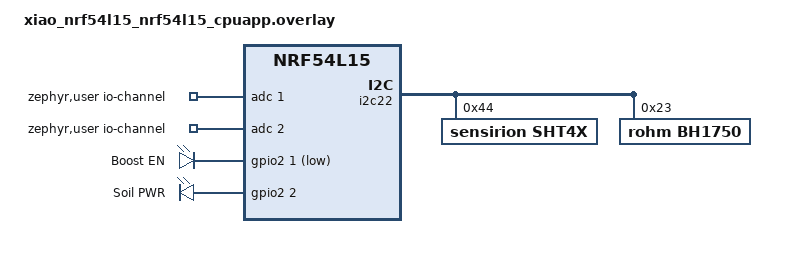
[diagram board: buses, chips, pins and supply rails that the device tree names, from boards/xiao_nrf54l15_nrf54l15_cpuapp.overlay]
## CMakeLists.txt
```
# SPDX-License-Identifier: Apache-2.0

cmake_minimum_required(VERSION 3.20.0)
find_package(Zephyr REQUIRED HINTS $ENV{ZEPHYR_BASE})
project(myco)

target_sources(app PRIVATE src/main.c src/selftest.c)
```

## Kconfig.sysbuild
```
source "share/sysbuild/Kconfig"

config NRF_DEFAULT_IPC_RADIO
	default y

config NETCORE_IPC_RADIO_IEEE802154
	default y
```

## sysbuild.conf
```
# Partition manager désactivé — layout statique via nrf54l15_cpuapp_partitions.dtsi
# (fourni par l'add-on ncs-zigbee), comme dans samples/template.
SB_CONFIG_PARTITION_MANAGER=n
```

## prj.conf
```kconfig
# Logging
CONFIG_LOG=y
CONFIG_LOG_DEFAULT_LEVEL=3

# RTT (logs + shell — pas d'UART câblé sur le fixture de test)
CONFIG_USE_SEGGER_RTT=y
CONFIG_LOG_BACKEND_RTT=y
CONFIG_LOG_BACKEND_RTT_MODE_BLOCK=y
CONFIG_LOG_BACKEND_UART=n
CONFIG_RTT_CONSOLE=y

CONFIG_SHELL=y
CONFIG_SHELL_BACKEND_RTT=y
# Logs et shell ne peuvent pas partager le même canal RTT (BUILD_ASSERT dans
# shell_rtt.c) — logs restent sur le canal 0 par défaut, shell sur le 1.
CONFIG_SHELL_BACKEND_RTT_BUFFER=1

# GPIO — seul périphérique dont ce firmware a besoin
CONFIG_GPIO=y

# NFC : P1.02/P1.03 (module pads 15/16, J1 pins 10/11) sont en mode antenne
# NFC par défaut au reset (datasheet nRF54L15 §8.8.1 — registre PADCONFIG).
# Pas de Kconfig/devicetree pour ça sur cette version de NCS (v3.2.4,
# vérifié : CONFIG_NFCT_PINS_AS_GPIOS et un noeud UICR/nfct n'existent pas
# pour nRF54L ici) — désactivé à la place par un appel HAL direct
# (nrf_nfct_pad_config_enable_set) dans selftest.c au boot.
```

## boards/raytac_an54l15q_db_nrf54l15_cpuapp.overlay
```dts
/*
 * NRF54L_breakout — firmware d'auto-test des GPIO exposés (fixture pull-down).
 *
 * Cible officielle la plus proche du module nu (module partagé, pas la carte
 * eval Raytac elle-même) — voir NRF54L_breakout/test-fixture/TEST-FLOW.md
 * pour le protocole complet et NRF54L_breakout/PIN_MAPPING.md pour la table
 * pin module ↔ pin breakout.
 *
 * Pas de capteurs/BLE ici : ce firmware ne fait que balayer les 29 GPIO
 * exposés sur J1/J4 via le shell RTT (commande `selftest`).
 */

/* ── spi00 : flash externe de l'eval board Raytac, absente sur notre
 * breakout — désactivé, comme sur la branche breakout-test. ────────────── */
&spi00 {
	status = "disabled";
};

/* ── uart20 : console/shell par défaut de cette cible. Son pinctrl réclame
 * TX=P1.04, RTS=P1.06, RX=P1.05, CTS=P1.07 — 4 des 29 pins qu'on balaie
 * (J1 pins 12/14/13/15, réseau A). Désactivé pour libérer ces 4 pins en
 * pur GPIO ; logs et shell passent par RTT de toute façon (pas d'UART câblé
 * sur le fixture). Même cause/fix que sur la branche breakout-test. ─────── */
&uart20 {
	status = "disabled";
};
```

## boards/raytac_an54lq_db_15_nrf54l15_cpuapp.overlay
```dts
#include <zephyr/dt-bindings/gpio/nordic-nrf-gpio.h>
#include <nrf54l15_cpuapp_partitions.dtsi>

/*
 * Myco Mini – NRF54L_breakout (Raytac AN54LQ-15 module) DeviceTree overlay
 * Variante Zigbee R23 (add-on ncs-zigbee, NCS v3.4.0) — même hardware/pins
 * que la branche BLE (feature/an54lq15-breakout-test), radio 802.15.4 au
 * lieu de BLE.
 *
 * NB board target renommé entre NCS v3.2.4 et v3.4.0 :
 * raytac_an54l15q_db -> raytac_an54lq_db_15 (aligné sur le vrai nom du
 * module AN54LQ-15). Même module, mêmes pins, même conflit uart20 (cf plus
 * bas) — vérifié dans les fichiers de board de ce nouveau workspace.
 *
 * Pinout (breakout header en parens) :
 *   I2C SDA  : P1.10 (J1 pin 3)   — SHT40 + BH1750
 *   I2C SCL  : P1.11 (J1 pin 4)   — SHT40 + BH1750
 *   ADC soil : P1.07 / AIN3 (J1 pin 15) — capteur sol capacitif (AOUT)
 *   ADC batt : P1.06 / AIN2 (J1 pin 14) — tension batterie CR2032
 *   GPIO PWR : P1.04 (J1 pin 12) — alimentation capteur sol
 *
 * Pas de RF switch (antenne céramique intégrée), pas de MOSFET boost_en,
 * pas de LED — même choix que la branche BLE, voir son overlay pour le
 * détail des raisons.
 */

/* ── spi00 : flash externe absente sur notre breakout — désactivé.
 * Le noeud enfant mx25r64 doit être désactivé explicitement en plus du bus :
 * son status="okay" hérité du board dtsi survit à la désactivation du bus
 * parent, et le driver spi_nor.c essaie quand même de l'instancier dès que
 * CONFIG_SPI_NOR est actif (tiré par Zigbee/partition manager statique). ── */
&spi00 {
	status = "disabled";
};

&mx25r64 {
	status = "disabled";
};

/* ── uart20 : même conflit que sur NCS v3.2.4 — pinctrl réclame TX=P1.04,
 * RTS=P1.06, RX=P1.05, CTS=P1.07 (bias-pull-up), soit nos pins soil_pwr/
 * ADC sol/ADC batt. Désactivé, logs via RTT. ───────────────────────────── */
&uart20 {
	status = "disabled";
};

/* ── Zigbee : timer dédié requis par l'add-on, chosen node + activation. ── */
/ {
	chosen {
		ncs,zigbee-timer = &timer20;
	};
};

&timer20 {
	status = "okay";
};

/* Restaure toute la RRAM/SRAM app-core — par défaut une partie est réservée
 * pour FLPR ; le template Zigbee R23 fait cette même restauration. */
&cpuapp_rram {
	reg = <0x0 DT_SIZE_K(1524)>;
};

&cpuapp_sram {
	reg = <0x20000000 DT_SIZE_K(256)>;
	ranges = <0x0 0x20000000 0x40000>;
};

/* ── Pinctrl I2C : pas de pinctrl i2c22 par défaut sur cette cible ───────── */
&pinctrl {
	i2c22_default: i2c22_default {
		group1 {
			psels = <NRF_PSEL(TWIM_SDA, 1, 10)>,
				<NRF_PSEL(TWIM_SCL, 1, 11)>;
		};
	};

	i2c22_sleep: i2c22_sleep {
		group1 {
			psels = <NRF_PSEL(TWIM_SDA, 1, 10)>,
				<NRF_PSEL(TWIM_SCL, 1, 11)>;
			low-power-enable;
		};
	};
};

/* ── I2C capteurs ─────────────────────────────────────────────── */
&i2c22 {
	status = "okay";
	pinctrl-0 = <&i2c22_default>;
	pinctrl-1 = <&i2c22_sleep>;
	pinctrl-names = "default", "sleep";
	clock-frequency = <400000>;

	sht4x: sht4x@44 {
		compatible = "sensirion,sht4x";
		reg = <0x44>;
		repeatability = <2>;
	};

	bh1750: bh1750@23 {
		compatible = "rohm,bh1750";
		reg = <0x23>;
	};
};

/* ── ADC ──────────────────────────────────────────────────────── */
&adc {
	#address-cells = <1>;
	#size-cells = <0>;

	channel@1 {
		reg = <1>;
		zephyr,gain = "ADC_GAIN_1_4";
		zephyr,reference = "ADC_REF_INTERNAL";  /* 0.9V reel -> FSR 3.6V */
		zephyr,acquisition-time = <ADC_ACQ_TIME_DEFAULT>;
		zephyr,input-positive = <NRF_SAADC_AIN3>;  /* P1.07 (J1 pin 15) sol */
		zephyr,resolution = <12>;
		zephyr,oversampling = <8>;
	};

	channel@2 {
		reg = <2>;
		zephyr,gain = "ADC_GAIN_1_4";
		zephyr,reference = "ADC_REF_INTERNAL";
		zephyr,acquisition-time = <ADC_ACQ_TIME_DEFAULT>;
		zephyr,input-positive = <NRF_SAADC_AIN2>;  /* P1.06 batterie */
		zephyr,resolution = <12>;
		zephyr,oversampling = <8>;
	};
};

/ {
	zephyr,user {
		io-channels = <&adc 1>, <&adc 2>;
	};
};

/* ── GPIO ─────────────────────────────────────────────────────── */
/ {
	myco_gpios {
		compatible = "gpio-leds";

		soil_pwr: soil_pwr {
			gpios = <&gpio1 4 (GPIO_ACTIVE_HIGH | NRF_GPIO_DRIVE_H0H1)>; /* P1.04 */
			label = "Soil PWR";
		};
	};

	aliases {
		soil-pwr  = &soil_pwr;
	};
};
```

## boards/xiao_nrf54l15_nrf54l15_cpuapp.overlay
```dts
/*
 * Myco Mini – XIAO nRF54L15 DeviceTree overlay
 *
 * Pinout:
 *   I2C SDA  : P1.10 (D4)   — SHT40 + BH1750
 *   I2C SCL  : P1.11 (D5)   — SHT40 + BH1750
 *   ADC soil : P1.05 (D1/AIN1) — capteur sol capacitif
 *   ADC batt : P1.06 (D2/AIN2) — tension batterie CR2032
 *   GPIO EN  : P2.01 (D8)   — MOSFET boost converter (active-low)
 *   GPIO PWR : P2.02 (D10)  — alimentation capteur sol
 *   LED      : P2.00         — LED utilisateur unique
 *   RF switch: P2.03/P2.05  — rfsw_pwr/rfsw_ctl (antenne céramique)
 */

/* ── RF switch : active l'antenne céramique au boot ──────────── */
&rfsw_pwr {
	regulator-boot-on;
};

&rfsw_ctl {
	regulator-boot-on;
};

/* ── I2C capteurs ─────────────────────────────────────────────── */
&i2c22 {
	status = "okay";

	sht4x: sht4x@44 {
		compatible = "sensirion,sht4x";
		reg = <0x44>;
		repeatability = <2>;  /* 0=low(1.7ms), 1=med(4.5ms), 2=high(8.2ms) */
	};

	bh1750: bh1750@23 {
		compatible = "rohm,bh1750";
		reg = <0x23>;
	};
};

/* ── ADC ──────────────────────────────────────────────────────── */
/ {
	zephyr,user {
		io-channels = <&adc 1>, <&adc 2>;  /* ch1=AIN1/D1 sol, ch2=AIN2/D2 batt */
	};
};

/* ── GPIO ─────────────────────────────────────────────────────── */
/ {
	myco_gpios {
		compatible = "gpio-leds";

		boost_en: boost_en {
			gpios = <&gpio2 1 GPIO_ACTIVE_LOW>;  /* D8 = P2.01 */
			label = "Boost EN";
		};

		soil_pwr: soil_pwr {
			gpios = <&gpio2 2 GPIO_ACTIVE_HIGH>; /* D10 = P2.02 */
			label = "Soil PWR";
		};
	};

	aliases {
		boost-en  = &boost_en;
		soil-pwr  = &soil_pwr;
		user-led  = &led0;           /* P2.00 — LED unique */
	};
};
```

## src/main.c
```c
/*
 * NRF54L_breakout — firmware d'auto-test des GPIO exposés.
 *
 * Pas de capteurs/BLE : lance une passe au boot puis attend les commandes
 * du shell RTT (`selftest` pour relancer). Voir
 * NRF54L_breakout/test-fixture/TEST-FLOW.md pour le protocole complet et
 * le câblage du fixture.
 */

#include <zephyr/kernel.h>
#include <zephyr/logging/log.h>

#include "selftest.h"

LOG_MODULE_REGISTER(myco_selftest, LOG_LEVEL_INF);

int main(void)
{
	LOG_INF("Myco pin-selftest booting on nRF54L15...");
	LOG_INF("Shell RTT pret — tape 'selftest' pour relancer le balayage.");

	k_msleep(200); /* laisse le fixture (RC 1kOhm) se stabiliser au boot */
	selftest_run();

	return 0;
}
```

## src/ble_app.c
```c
#include "ble_app.h"

#include <zephyr/kernel.h>
#include <zephyr/logging/log.h>
#include <zephyr/drivers/sensor.h>
#include <zephyr/drivers/adc.h>
#include <zephyr/bluetooth/bluetooth.h>
#include <zephyr/bluetooth/hci.h>

#include "device_config.h"

LOG_MODULE_REGISTER(myco_ble, LOG_LEVEL_INF);

/* ── Périphériques (soil_pwr/adc_channel_setup deja faits par main()) ──── */
static const struct device *sht4x  = DEVICE_DT_GET(DT_NODELABEL(sht4x));
static const struct device *bh1750 = DEVICE_DT_GET(DT_NODELABEL(bh1750));

static const struct adc_dt_spec adc_soil =
	ADC_DT_SPEC_GET_BY_IDX(DT_PATH(zephyr_user), 0);
static const struct adc_dt_spec adc_batt =
	ADC_DT_SPEC_GET_BY_IDX(DT_PATH(zephyr_user), 1);

/* ── BTHome v2 ──────────────────────────────────────────────── */
/* Service data : UUID(2) + device_info(1) + objects = 17 bytes */
static uint8_t bthome_sd[17] = {
	0xD2, 0xFC,  /* UUID 0xFCD2 little endian */
	0x40,        /* v2, unencrypted, not trigger-based */
	0x01, 0x00,              /* Battery  uint8  % */
	0x02, 0x00, 0x00,        /* Temp     sint16 ×0.01 °C */
	0x03, 0x00, 0x00,        /* Humidity uint16 ×0.01 % */
	0x05, 0x00, 0x00, 0x00,  /* Lux      uint24 ×0.01 lx */
	0x2F, 0x00,              /* Moisture uint8  % */
};

static const uint8_t bthome_uuid[] = {0xD2, 0xFC};  /* 0xFCD2 LE */

static const struct bt_data ad[] = {
	BT_DATA_BYTES(BT_DATA_FLAGS, BT_LE_AD_GENERAL | BT_LE_AD_NO_BREDR),
	BT_DATA(BT_DATA_UUID16_ALL, bthome_uuid, sizeof(bthome_uuid)),
	BT_DATA(BT_DATA_SVC_DATA16, bthome_sd, sizeof(bthome_sd)),
};

static const struct bt_le_adv_param adv_param =
	BT_LE_ADV_PARAM_INIT(BT_LE_ADV_OPT_USE_IDENTITY |
			     BT_LE_ADV_OPT_CONN,
			     160, 160,
			     NULL);

static void bthome_update(uint8_t bat, float temp, float hum, float lux, uint8_t soil)
{
	int16_t  t  = (int16_t)(temp * 100.0f);
	uint16_t h  = (uint16_t)(hum  * 100.0f);
	uint32_t lx = (uint32_t)(lux  * 100.0f);

	bthome_sd[4]  = bat;
	bthome_sd[6]  = (t  >>  0) & 0xFF;
	bthome_sd[7]  = (t  >>  8) & 0xFF;
	bthome_sd[9]  = (h  >>  0) & 0xFF;
	bthome_sd[10] = (h  >>  8) & 0xFF;
	bthome_sd[12] = (lx >>  0) & 0xFF;
	bthome_sd[13] = (lx >>  8) & 0xFF;
	bthome_sd[14] = (lx >> 16) & 0xFF;
	bthome_sd[16] = soil;
}

/* ── ADC ────────────────────────────────────────────────────── */
static int read_adc_mv(const struct adc_dt_spec *spec)
{
	int16_t raw = 0;
	struct adc_sequence seq = {
		.buffer      = &raw,
		.buffer_size = sizeof(raw),
	};
	adc_sequence_init_dt(spec, &seq);
	adc_read_dt(spec, &seq);

	int32_t mv = raw;
	adc_raw_to_millivolts_dt(spec, &mv);
	return mv;
}

int ble_app_run(void)
{
	const struct device_config *cfg = device_config_get();

	int err = bt_enable(NULL);
	if (err) {
		LOG_ERR("bt_enable failed: %d", err);
		return -1;
	}

	/* Log adresse MAC */
	bt_addr_le_t addr;
	size_t count = 1;
	bt_id_get(&addr, &count);
	LOG_INF("BLE ready  MAC: %02X:%02X:%02X:%02X:%02X:%02X",
		addr.a.val[5], addr.a.val[4], addr.a.val[3],
		addr.a.val[2], addr.a.val[1], addr.a.val[0]);

	/* Démarrage advertising au boot */
	err = bt_le_adv_start(&adv_param, ad, ARRAY_SIZE(ad), NULL, 0);
	if (err) {
		LOG_ERR("bt_le_adv_start failed: %d", err);
		return -1;
	}

	struct sensor_value temp, hum, lux;

	while (1) {
		/* SHT40 */
		sensor_sample_fetch(sht4x);
		sensor_channel_get(sht4x, SENSOR_CHAN_AMBIENT_TEMP, &temp);
		sensor_channel_get(sht4x, SENSOR_CHAN_HUMIDITY, &hum);

		/* BH1750 */
		sensor_sample_fetch(bh1750);
		sensor_channel_get(bh1750, SENSOR_CHAN_LIGHT, &lux);

		/* Batterie */
		int batt_mv  = read_adc_mv(&adc_batt);
		int batt_pct = CLAMP((batt_mv - 2000) * 100 / (3000 - 2000), 0, 100);

		/* Sol : soil_pwr reste allumé en continu (voir commentaire dans main()) */
		int soil_mv = read_adc_mv(&adc_soil);
		int soil_12 = soil_mv * 4095 / 3600;
		int soil_pct = CLAMP((cfg->soil_dry - soil_12) * 100 / (cfg->soil_dry - cfg->soil_wet), 0, 100);

		float t_f   = temp.val1 + temp.val2 / 1000000.0f;
		float h_f   = hum.val1  + hum.val2  / 1000000.0f;
		float lux_f = lux.val1  + lux.val2  / 1000000.0f;

		LOG_INF("T: %.2f C  RH: %.2f %%  Lux: %.2f  Sol: %d%% (%dmV)  Bat: %dmV (%d%%)",
			(double)t_f, (double)h_f, (double)lux_f,
			soil_pct, soil_mv, batt_mv, batt_pct);

		/* BTHome : met à jour le payload en live (advertising continu) */
		bthome_update(batt_pct, t_f, h_f, lux_f, soil_pct);
		err = bt_le_adv_update_data(ad, ARRAY_SIZE(ad), NULL, 0);
		if (err && err != -EAGAIN) {
			LOG_ERR("bt_le_adv_update_data failed: %d", err);
		} else {
			LOG_DBG("BTHome advertised");
		}

		k_sleep(K_SECONDS(cfg->report_interval_s));
	}

	return 0;
}
```

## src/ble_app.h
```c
#ifndef BLE_APP_H
#define BLE_APP_H

/* Boucle BLE/BTHome v2 — capteurs deja initialises par main(), ne revient
 * jamais en usage normal (boucle infinie d'advertising). */
int ble_app_run(void);

#endif /* BLE_APP_H */
```

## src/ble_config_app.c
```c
/*
 * Mode config : service GATT custom pour une app compagnon (telephone).
 * Expose la calibration sol + l'intervalle de report en lecture-ecriture
 * dans un "brouillon" (staging_*), et un caractere "commit" qui valide,
 * persiste en NVS (device_config.c) et reboote dans le mode radio choisi
 * (protocol_mode.c). Rien n'est applique tant que "commit" n'est pas
 * ecrit — la connexion peut se couper sans effet, comme annuler.
 */

#include "ble_config_app.h"

#include <string.h>
#include <zephyr/bluetooth/att.h>
#include <zephyr/bluetooth/bluetooth.h>
#include <zephyr/bluetooth/conn.h>
#include <zephyr/bluetooth/gatt.h>
#include <zephyr/bluetooth/uuid.h>
#include <zephyr/kernel.h>
#include <zephyr/logging/log.h>
#include <zephyr/sys/reboot.h>

#include "device_config.h"
#include "protocol_mode.h"

LOG_MODULE_REGISTER(myco_config, LOG_LEVEL_INF);

/* UUID custom (pas de collision connue — projet personnel, pas de
 * registration formelle necessaire). Base 59ad0000-1212-4a2d-8b1e-2c9f4a5d0000,
 * dernier bloc incremente par caracteristique. */
#define BT_UUID_MYCO_CFG_SVC_VAL \
	BT_UUID_128_ENCODE(0x59ad0000, 0x1212, 0x4a2d, 0x8b1e, 0x2c9f4a5d0001)
#define BT_UUID_MYCO_CFG_SOIL_DRY_VAL \
	BT_UUID_128_ENCODE(0x59ad0000, 0x1212, 0x4a2d, 0x8b1e, 0x2c9f4a5d0002)
#define BT_UUID_MYCO_CFG_SOIL_WET_VAL \
	BT_UUID_128_ENCODE(0x59ad0000, 0x1212, 0x4a2d, 0x8b1e, 0x2c9f4a5d0003)
#define BT_UUID_MYCO_CFG_INTERVAL_VAL \
	BT_UUID_128_ENCODE(0x59ad0000, 0x1212, 0x4a2d, 0x8b1e, 0x2c9f4a5d0004)
#define BT_UUID_MYCO_CFG_TARGET_MODE_VAL \
	BT_UUID_128_ENCODE(0x59ad0000, 0x1212, 0x4a2d, 0x8b1e, 0x2c9f4a5d0005)
#define BT_UUID_MYCO_CFG_COMMIT_VAL \
	BT_UUID_128_ENCODE(0x59ad0000, 0x1212, 0x4a2d, 0x8b1e, 0x2c9f4a5d0006)

static const struct bt_uuid_128 svc_uuid = BT_UUID_INIT_128(BT_UUID_MYCO_CFG_SVC_VAL);
static const struct bt_uuid_128 soil_dry_uuid = BT_UUID_INIT_128(BT_UUID_MYCO_CFG_SOIL_DRY_VAL);
static const struct bt_uuid_128 soil_wet_uuid = BT_UUID_INIT_128(BT_UUID_MYCO_CFG_SOIL_WET_VAL);
static const struct bt_uuid_128 interval_uuid = BT_UUID_INIT_128(BT_UUID_MYCO_CFG_INTERVAL_VAL);
static const struct bt_uuid_128 target_mode_uuid =
	BT_UUID_INIT_128(BT_UUID_MYCO_CFG_TARGET_MODE_VAL);
static const struct bt_uuid_128 commit_uuid = BT_UUID_INIT_128(BT_UUID_MYCO_CFG_COMMIT_VAL);

/* Brouillon modifie par l'app compagnon ; applique seulement au commit. */
static struct device_config staging_cfg;
static uint8_t staging_target_mode = PROTOCOL_MODE_BLE;

static ssize_t read_u16(struct bt_conn *conn, const struct bt_gatt_attr *attr,
			 void *buf, uint16_t len, uint16_t offset)
{
	const uint16_t *value = attr->user_data;

	return bt_gatt_attr_read(conn, attr, buf, len, offset, value, sizeof(*value));
}

static ssize_t write_u16(struct bt_conn *conn, const struct bt_gatt_attr *attr,
			  const void *buf, uint16_t len, uint16_t offset, uint8_t flags)
{
	ARG_UNUSED(conn);
	ARG_UNUSED(flags);
	uint16_t *value = attr->user_data;

	if (offset != 0 || len != sizeof(*value)) {
		return BT_GATT_ERR(BT_ATT_ERR_INVALID_ATTRIBUTE_LEN);
	}

	memcpy(value, buf, len);
	return len;
}

static ssize_t read_u8(struct bt_conn *conn, const struct bt_gatt_attr *attr,
			void *buf, uint16_t len, uint16_t offset)
{
	const uint8_t *value = attr->user_data;

	return bt_gatt_attr_read(conn, attr, buf, len, offset, value, sizeof(*value));
}

static ssize_t write_target_mode(struct bt_conn *conn, const struct bt_gatt_attr *attr,
				  const void *buf, uint16_t len, uint16_t offset, uint8_t flags)
{
	ARG_UNUSED(conn);
	ARG_UNUSED(flags);
	uint8_t *value = attr->user_data;

	if (offset != 0 || len != sizeof(*value)) {
		return BT_GATT_ERR(BT_ATT_ERR_INVALID_ATTRIBUTE_LEN);
	}

	uint8_t v = *(const uint8_t *)buf;

	if (v != PROTOCOL_MODE_BLE && v != PROTOCOL_MODE_ZIGBEE) {
		return BT_GATT_ERR(BT_ATT_ERR_VALUE_NOT_ALLOWED);
	}

	*value = v;
	return len;
}

static ssize_t write_commit(struct bt_conn *conn, const struct bt_gatt_attr *attr,
			     const void *buf, uint16_t len, uint16_t offset, uint8_t flags)
{
	ARG_UNUSED(conn);
	ARG_UNUSED(attr);
	ARG_UNUSED(buf);
	ARG_UNUSED(offset);
	ARG_UNUSED(flags);

	if (staging_cfg.soil_dry <= staging_cfg.soil_wet) {
		LOG_ERR("Commit refuse : soil_dry (%u) doit etre > soil_wet (%u)",
			staging_cfg.soil_dry, staging_cfg.soil_wet);
		return BT_GATT_ERR(BT_ATT_ERR_VALUE_NOT_ALLOWED);
	}
	if (staging_cfg.report_interval_s == 0) {
		LOG_ERR("Commit refuse : intervalle nul");
		return BT_GATT_ERR(BT_ATT_ERR_VALUE_NOT_ALLOWED);
	}

	device_config_set(&staging_cfg);
	protocol_mode_set((enum protocol_mode)staging_target_mode);

	LOG_INF("Config committee (sec=%u humide=%u intervalle=%us), reboot en mode %s",
		staging_cfg.soil_dry, staging_cfg.soil_wet, staging_cfg.report_interval_s,
		protocol_mode_name((enum protocol_mode)staging_target_mode));

	/* Ecriture "without response" — la connexion tombe au reboot, c'est
	 * le signal attendu par l'app plutot qu'un ACK GATT. */
	k_msleep(200);
	sys_reboot(SYS_REBOOT_COLD);

	return len;
}

BT_GATT_SERVICE_DEFINE(myco_cfg_svc,
	BT_GATT_PRIMARY_SERVICE(&svc_uuid),
	BT_GATT_CHARACTERISTIC(&soil_dry_uuid.uuid,
		BT_GATT_CHRC_READ | BT_GATT_CHRC_WRITE,
		BT_GATT_PERM_READ | BT_GATT_PERM_WRITE,
		read_u16, write_u16, &staging_cfg.soil_dry),
	BT_GATT_CHARACTERISTIC(&soil_wet_uuid.uuid,
		BT_GATT_CHRC_READ | BT_GATT_CHRC_WRITE,
		BT_GATT_PERM_READ | BT_GATT_PERM_WRITE,
		read_u16, write_u16, &staging_cfg.soil_wet),
	BT_GATT_CHARACTERISTIC(&interval_uuid.uuid,
		BT_GATT_CHRC_READ | BT_GATT_CHRC_WRITE,
		BT_GATT_PERM_READ | BT_GATT_PERM_WRITE,
		read_u16, write_u16, &staging_cfg.report_interval_s),
	BT_GATT_CHARACTERISTIC(&target_mode_uuid.uuid,
		BT_GATT_CHRC_READ | BT_GATT_CHRC_WRITE,
		BT_GATT_PERM_READ | BT_GATT_PERM_WRITE,
		read_u8, write_target_mode, &staging_target_mode),
	BT_GATT_CHARACTERISTIC(&commit_uuid.uuid,
		BT_GATT_CHRC_WRITE_WITHOUT_RESP,
		BT_GATT_PERM_WRITE,
		NULL, write_commit, NULL),
);

/* Flags + UUID128 dans l'ADV (21 octets), nom dans la scan response (13
 * octets) — les deux tiennent chacun sous la limite de 31 octets. */
static const struct bt_data ad[] = {
	BT_DATA_BYTES(BT_DATA_FLAGS, BT_LE_AD_GENERAL | BT_LE_AD_NO_BREDR),
	BT_DATA(BT_DATA_UUID128_ALL, ((uint8_t[]){BT_UUID_MYCO_CFG_SVC_VAL}), 16),
};

static const struct bt_data sd[] = {
	BT_DATA(BT_DATA_NAME_COMPLETE, "Myco-Config", 11),
};

static const struct bt_le_adv_param adv_param =
	BT_LE_ADV_PARAM_INIT(BT_LE_ADV_OPT_CONN, BT_GAP_ADV_FAST_INT_MIN_2,
			      BT_GAP_ADV_FAST_INT_MAX_2, NULL);

static void on_connected(struct bt_conn *conn, uint8_t err)
{
	if (err) {
		LOG_WRN("Connexion echouee (err %u)", err);
		return;
	}
	LOG_INF("App compagnon connectee");
}

static void on_disconnected(struct bt_conn *conn, uint8_t reason)
{
	ARG_UNUSED(conn);
	LOG_INF("App compagnon deconnectee (raison %u)", reason);
}

BT_CONN_CB_DEFINE(conn_callbacks) = {
	.connected = on_connected,
	.disconnected = on_disconnected,
};

int ble_config_app_run(void)
{
	int err = bt_enable(NULL);
	if (err) {
		LOG_ERR("bt_enable failed: %d", err);
		return -1;
	}

	staging_cfg = *device_config_get();
	staging_target_mode = PROTOCOL_MODE_BLE;

	err = bt_le_adv_start(&adv_param, ad, ARRAY_SIZE(ad), sd, ARRAY_SIZE(sd));
	if (err) {
		LOG_ERR("bt_le_adv_start failed: %d", err);
		return -1;
	}

	LOG_INF("Mode config : GATT 'Myco-Config' actif, en attente d'une connexion");
	LOG_INF("Config actuelle : sec=%u humide=%u intervalle=%us",
		staging_cfg.soil_dry, staging_cfg.soil_wet, staging_cfg.report_interval_s);

	/* Heartbeat periodique — comme ble_app.c/zigbee_app.c, utile pour
	 * confirmer via RTT que le mode config tourne toujours meme sans
	 * connexion (rien d'autre ne boucle dans ce mode). */
	while (1) {
		k_sleep(K_SECONDS(10));
		LOG_INF("Mode config actif, en attente...");
	}

	return 0;
}
```

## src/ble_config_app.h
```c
#ifndef BLE_CONFIG_APP_H
#define BLE_CONFIG_APP_H

/* Mode config : GATT peripheral connectable pour une app compagnon
 * (telephone). Ne fait pas de reporting capteur — expose la calibration
 * sol/intervalle en lecture-ecriture, plus un "commit" qui persiste tout
 * et reboote dans le mode radio choisi. Retourne apres avoir demarre
 * l'advertising ; tout le reste se passe dans les callbacks GATT. */
int ble_config_app_run(void);

#endif /* BLE_CONFIG_APP_H */
```

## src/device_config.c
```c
#include "device_config.h"

#include <zephyr/logging/log.h>
#include <zephyr/settings/settings.h>

LOG_MODULE_REGISTER(device_config, LOG_LEVEL_INF);

/* Sous-arbre distinct de celui de protocol_mode.c ("myco") — Settings
 * n'autorise qu'un seul handler par nom de sous-arbre. */
#define SETTINGS_SUBTREE "mycocfg"
#define SETTINGS_KEY     "mycocfg/data"

static struct device_config current_cfg = DEVICE_CONFIG_DEFAULT;
static bool loaded;

static int cfg_set_cb(const char *name, size_t len, settings_read_cb read_cb, void *cb_arg)
{
	ARG_UNUSED(name);

	if (len != sizeof(current_cfg)) {
		return -EINVAL;
	}

	ssize_t ret = read_cb(cb_arg, &current_cfg, sizeof(current_cfg));

	return ret < 0 ? (int)ret : 0;
}

SETTINGS_STATIC_HANDLER_DEFINE(myco_cfg, SETTINGS_SUBTREE, NULL, cfg_set_cb, NULL, NULL);

const struct device_config *device_config_get(void)
{
	if (!loaded) {
		settings_subsys_init();
		settings_load();
		loaded = true;
		LOG_INF("Config chargee depuis NVS : sec=%u humide=%u intervalle=%us",
			current_cfg.soil_dry, current_cfg.soil_wet, current_cfg.report_interval_s);
	}

	return &current_cfg;
}

int device_config_set(const struct device_config *cfg)
{
	current_cfg = *cfg;
	loaded = true;

	return settings_save_one(SETTINGS_KEY, &current_cfg, sizeof(current_cfg));
}
```

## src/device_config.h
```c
/*
 * Parametres capteur ajustables (calibration sol, intervalle de report),
 * persistes en NVS. Ecrits par ble_config_app.c (mode config, via l'app
 * compagnon), lus une seule fois au boot par ble_app.c / zigbee_app.c —
 * pas de rechargement a chaud, il faut repasser par le mode config +
 * "commit" (qui reboote) pour appliquer un changement.
 */

#ifndef DEVICE_CONFIG_H
#define DEVICE_CONFIG_H

#include <stdint.h>

struct device_config {
	uint16_t soil_dry;
	uint16_t soil_wet;
	uint16_t report_interval_s;
};

#define DEVICE_CONFIG_DEFAULT \
	{ .soil_dry = 3500, .soil_wet = 1260, .report_interval_s = 10 }

/* Charge la config persistee (defauts ci-dessus si jamais ecrite). A
 * appeler avant de lire les valeurs — sans effet si deja chargee. */
const struct device_config *device_config_get(void);

/* Ecrit la config en NVS. */
int device_config_set(const struct device_config *cfg);

#endif /* DEVICE_CONFIG_H */
```

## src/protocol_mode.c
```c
#include "protocol_mode.h"

#include <string.h>
#include <zephyr/kernel.h>
#include <zephyr/logging/log.h>
#include <zephyr/settings/settings.h>
#include <zephyr/shell/shell.h>
#include <zephyr/sys/reboot.h>

LOG_MODULE_REGISTER(protocol_mode, LOG_LEVEL_INF);

#define SETTINGS_SUBTREE "myco"
#define SETTINGS_KEY     "myco/mode"

static enum protocol_mode current_mode = PROTOCOL_MODE_DEFAULT;
static bool loaded;

static int mode_set_cb(const char *name, size_t len, settings_read_cb read_cb, void *cb_arg)
{
	ARG_UNUSED(name);

	if (len != sizeof(current_mode)) {
		return -EINVAL;
	}

	ssize_t ret = read_cb(cb_arg, &current_mode, sizeof(current_mode));

	return ret < 0 ? (int)ret : 0;
}

SETTINGS_STATIC_HANDLER_DEFINE(myco_mode, SETTINGS_SUBTREE, NULL, mode_set_cb, NULL, NULL);

enum protocol_mode protocol_mode_get(void)
{
	if (!loaded) {
		settings_subsys_init();
		settings_load();
		loaded = true;
		LOG_INF("Mode protocole charge depuis NVS : %s", protocol_mode_name(current_mode));
	}

	return current_mode;
}

int protocol_mode_set(enum protocol_mode mode)
{
	current_mode = mode;
	loaded = true;

	return settings_save_one(SETTINGS_KEY, &mode, sizeof(mode));
}

const char *protocol_mode_name(enum protocol_mode mode)
{
	switch (mode) {
	case PROTOCOL_MODE_ZIGBEE:
		return "zigbee";
	case PROTOCOL_MODE_BLE_CONFIG:
		return "config";
	case PROTOCOL_MODE_BLE:
	default:
		return "ble";
	}
}

/* ── Commande shell (RTT) : selectionner le protocole sans reflasher ─────
 * "protocol set <ble|zigbee>" puis "protocol reboot" (ou tout reboot) pour
 * appliquer — un futur jumper/bouton ou une UI ecriraient le meme flag via
 * protocol_mode_set(). ──────────────────────────────────────────────── */

static int cmd_protocol_show(const struct shell *sh, size_t argc, char **argv)
{
	ARG_UNUSED(argc);
	ARG_UNUSED(argv);

	shell_print(sh, "Protocole actuel : %s", protocol_mode_name(protocol_mode_get()));
	return 0;
}

static int cmd_protocol_set(const struct shell *sh, size_t argc, char **argv)
{
	enum protocol_mode mode;

	if (argc != 2) {
		shell_error(sh, "Usage: protocol set <ble|zigbee|config>");
		return -EINVAL;
	}

	if (strcmp(argv[1], "ble") == 0) {
		mode = PROTOCOL_MODE_BLE;
	} else if (strcmp(argv[1], "zigbee") == 0) {
		mode = PROTOCOL_MODE_ZIGBEE;
	} else if (strcmp(argv[1], "config") == 0) {
		mode = PROTOCOL_MODE_BLE_CONFIG;
	} else {
		shell_error(sh, "Mode inconnu : %s (ble, zigbee ou config)", argv[1]);
		return -EINVAL;
	}

	int err = protocol_mode_set(mode);

	if (err) {
		shell_error(sh, "Echec sauvegarde NVS : %d", err);
		return err;
	}

	shell_print(sh, "Mode enregistre : %s. Lance 'protocol reboot' pour appliquer.",
		    protocol_mode_name(mode));
	return 0;
}

static int cmd_protocol_reboot(const struct shell *sh, size_t argc, char **argv)
{
	ARG_UNUSED(argc);
	ARG_UNUSED(argv);

	shell_print(sh, "Reboot...");
	k_msleep(200); /* laisse le temps au shell d'afficher le message avant reset */
	sys_reboot(SYS_REBOOT_COLD);
	return 0;
}

SHELL_STATIC_SUBCMD_SET_CREATE(protocol_cmds,
	SHELL_CMD(show, NULL, "Affiche le protocole actuellement selectionne", cmd_protocol_show),
	SHELL_CMD(set, NULL, "Choisit le protocole (ble|zigbee|config) — effectif apres reboot",
		  cmd_protocol_set),
	SHELL_CMD(reboot, NULL, "Redemarre pour appliquer le protocole selectionne",
		  cmd_protocol_reboot),
	SHELL_SUBCMD_SET_END);

SHELL_CMD_REGISTER(protocol, &protocol_cmds, "Gestion du protocole radio (BLE/Zigbee)", NULL);
```

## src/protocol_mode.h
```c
/*
 * Selection du protocole radio (BLE ou Zigbee) au boot. Le choix est
 * persiste en NVS (partition "storage") et lu une seule fois au demarrage
 * — changer de protocole necessite un reboot ("reboot to apply"), pas de
 * bascule a chaud entre les deux radios.
 */

#ifndef PROTOCOL_MODE_H
#define PROTOCOL_MODE_H

enum protocol_mode {
	PROTOCOL_MODE_BLE = 0,
	PROTOCOL_MODE_ZIGBEE = 1,
	/* GATT de configuration (app compagnon) au lieu du broadcast BTHome —
	 * pas de reporting capteur dans ce mode. */
	PROTOCOL_MODE_BLE_CONFIG = 2,
};

#define PROTOCOL_MODE_DEFAULT PROTOCOL_MODE_BLE

/* Charge le mode persiste (defaut si jamais ecrit). A appeler une fois au
 * boot, avant de decider quelle stack initialiser. */
enum protocol_mode protocol_mode_get(void);

/* Ecrit le mode en NVS. Necessite un reboot pour prendre effet. */
int protocol_mode_set(enum protocol_mode mode);

const char *protocol_mode_name(enum protocol_mode mode);

#endif /* PROTOCOL_MODE_H */
```

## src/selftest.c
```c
/*
 * Auto-test des 29 GPIO exposés — voir selftest.h et
 * NRF54L_breakout/test-fixture/TEST-FLOW.md pour le protocole complet.
 *
 * Résumé du raisonnement (détaillé dans TEST-FLOW.md) :
 *
 *   Passe A (pull-up interne) + Passe B (pull-down interne), 100% passives
 *   (jamais de driver de sortie engagé) donnent, par pin :
 *
 *     lu(A)  lu(B)  diagnostic
 *      0      0     sain — ou court vers GND adjacent (indiscernable ici)
 *      1      0     coupure (joint module/header ouvert)
 *      1      1     court vers VDD_NRF
 *      0      1     anomalie (ne devrait pas arriver électriquement)
 *
 *   Passe C (walking-high active, drive standard S0S1, impulsion courte)
 *   ne pilote QUE les pins encore "sain-en-attente" après A/B — jamais un
 *   pin déjà signalé en défaut. Elle lève l'ambiguïté restante (court GND
 *   adjacent, pont entre deux GPIO) sans jamais driver un pin dont on sait
 *   déjà qu'il a un problème.
 */

#include "selftest.h"

#include <stdbool.h>

#include <zephyr/kernel.h>
#include <zephyr/logging/log.h>
#include <zephyr/drivers/gpio.h>
#include <zephyr/dt-bindings/gpio/nordic-nrf-gpio.h>
#include <zephyr/shell/shell.h>
#include <zephyr/sys/printk.h>
#include <hal/nrf_nfct.h>

LOG_MODULE_REGISTER(selftest, LOG_LEVEL_INF);

/* Durée du pull-up/pull-down interne avant lecture, et de l'impulsion
 * active — largement au-dessus de la constante de temps RC du fixture
 * (1kΩ + quelques pF), mais courte pour minimiser le temps d'exposition
 * d'un pin actif à un défaut non détecté (voir TEST-FLOW.md §Sécurité). */
#define SETTLE_US 500

const struct test_pin selftest_pins[SELFTEST_PIN_COUNT] = {
	/* ── Réseau A — J1 (GPIO_L), 13/13 pattes ─────────────────────── */
	{1,  9, "P1.09",           "J1.2",  2},
	{1, 10, "P1.10",           "J1.3",  3},
	{1, 11, "P1.11",           "J1.4",  4},
	{1, 12, "P1.12",           "J1.5",  5},
	{1, 13, "P1.13",           "J1.6",  6},
	{1, 14, "P1.14",           "J1.7",  7},
	{1,  2, "P1.02 (NFC1)",    "J1.10", 15},
	{1,  3, "P1.03 (NFC2)",    "J1.11", 16},
	{1,  4, "P1.04",           "J1.12", 17},
	{1,  5, "P1.05",           "J1.13", 18},
	{1,  6, "P1.06",           "J1.14", 19},
	{1,  7, "P1.07",           "J1.15", 20},
	{1,  8, "P1.08",           "J1.16", 21},
	/* ── Réseau B — J4 (GPIO_R), pattes 1-13 ──────────────────────── */
	{0,  4, "P0.04",           "J4.2",  40},
	{0,  3, "P0.03",           "J4.3",  38},
	{0,  2, "P0.02",           "J4.4",  41},
	{0,  1, "P0.01",           "J4.5",  35},
	{0,  0, "P0.00",           "J4.6",  34},
	{2, 10, "P2.10",           "J4.7",  33},
	{2,  9, "P2.09",           "J4.8",  32},
	{2,  8, "P2.08",           "J4.9",  31},
	{2,  7, "P2.07",           "J4.10", 30},
	{2,  6, "P2.06",           "J4.11", 29},
	{2,  5, "P2.05",           "J4.12", 28},
	{2,  4, "P2.04",           "J4.13", 27},
	{2,  3, "P2.03",           "J4.14", 25},
	/* ── Réseau C — J4 (GPIO_R), pattes 1-3 (sur 13) ──────────────── */
	{2,  2, "P2.02",           "J4.15", 24},
	{2,  1, "P2.01",           "J4.16", 23},
	{2,  0, "P2.00",           "J4.17", 22},
};

static const struct device *port_dev[3];

static int8_t shorted_to[SELFTEST_PIN_COUNT];   /* index de l'autre pin, -1 sinon */
static enum pin_status status[SELFTEST_PIN_COUNT];

static const struct device *dev_for(uint8_t port)
{
	return port_dev[port];
}

static int read_pin(int i)
{
	return gpio_pin_get_raw(dev_for(selftest_pins[i].port), selftest_pins[i].pin);
}

/* ── Passe A/B : configure tous les pins en entrée avec le pull demandé,
 * laisse le réseau se stabiliser, lit tout. ─────────────────────────── */
static void passive_pass(bool pull_up, uint32_t *bits_out)
{
	for (int i = 0; i < SELFTEST_PIN_COUNT; i++) {
		gpio_flags_t flags = GPIO_INPUT | (pull_up ? GPIO_PULL_UP : GPIO_PULL_DOWN);

		gpio_pin_configure(dev_for(selftest_pins[i].port), selftest_pins[i].pin, flags);
	}

	k_busy_wait(SETTLE_US);

	*bits_out = 0;
	for (int i = 0; i < SELFTEST_PIN_COUNT; i++) {
		int v = read_pin(i);

		if (v < 0) {
			LOG_ERR("Lecture impossible sur %s (%s) : %d",
				selftest_pins[i].header, selftest_pins[i].net, v);
			continue;
		}
		if (v) {
			*bits_out |= BIT(i);
		}
	}
}

/* ── Passe C : walking-high durci, uniquement sur les pins encore
 * PIN_STATUS_PENDING après A/B. Drive strength standard (S0S1, la plus
 * faible disponible) explicitement demandée — jamais high/extra drive. ── */
static void active_pass(void)
{
	/* Tous les pins "pending" en entrée pull-down par défaut pendant la
	 * passe — état de repos attendu pour un pin sain non piloté. */
	for (int i = 0; i < SELFTEST_PIN_COUNT; i++) {
		if (status[i] == PIN_STATUS_PENDING) {
			gpio_pin_configure(dev_for(selftest_pins[i].port), selftest_pins[i].pin,
					    GPIO_INPUT | GPIO_PULL_DOWN);
		}
	}
	k_busy_wait(SETTLE_US);

	for (int i = 0; i < SELFTEST_PIN_COUNT; i++) {
		if (status[i] != PIN_STATUS_PENDING) {
			continue; /* jamais piloter un pin déjà signalé en défaut */
		}

		const struct device *dev = dev_for(selftest_pins[i].port);
		uint8_t pin = selftest_pins[i].pin;

		gpio_pin_configure(dev, pin, GPIO_OUTPUT_ACTIVE | NRF_GPIO_DRIVE_S0S1);
		k_busy_wait(SETTLE_US);

		if (read_pin(i) != 1) {
			/* Commandé haut, relu bas : quelque chose tire ce pin
			 * vers GND plus fort que le driver standard. */
			status[i] = PIN_STATUS_GND_SHORT;
		} else {
			for (int j = 0; j < SELFTEST_PIN_COUNT; j++) {
				if (j == i || status[j] != PIN_STATUS_PENDING) {
					continue;
				}
				if (read_pin(j) == 1) {
					status[j] = PIN_STATUS_INTER_SHORT;
					shorted_to[j] = i;
					status[i] = PIN_STATUS_INTER_SHORT;
					shorted_to[i] = j;
				}
			}
		}

		/* Relâche avant de passer au suivant. */
		gpio_pin_configure(dev, pin, GPIO_INPUT | GPIO_PULL_DOWN);
		k_busy_wait(SETTLE_US);
	}

	for (int i = 0; i < SELFTEST_PIN_COUNT; i++) {
		if (status[i] == PIN_STATUS_PENDING) {
			status[i] = PIN_STATUS_OK;
		}
	}
}

static const char *status_str(enum pin_status s)
{
	switch (s) {
	case PIN_STATUS_OK:          return "OK";
	case PIN_STATUS_OPEN:        return "COUPURE";
	case PIN_STATUS_VDD_SHORT:   return "COURT->VDD";
	case PIN_STATUS_GND_SHORT:   return "COURT->GND";
	case PIN_STATUS_INTER_SHORT: return "PONT";
	case PIN_STATUS_ANOMALY:     return "ANOMALIE";
	default:                     return "?";
	}
}

int selftest_run(void)
{
	static const struct device *const devs[3] = {
		DEVICE_DT_GET(DT_NODELABEL(gpio0)),
		DEVICE_DT_GET(DT_NODELABEL(gpio1)),
		DEVICE_DT_GET(DT_NODELABEL(gpio2)),
	};

	for (int p = 0; p < 3; p++) {
		port_dev[p] = devs[p];
		if (!device_is_ready(port_dev[p])) {
			LOG_ERR("gpio%d non pret", p);
			return -1;
		}
	}

	/* P1.02/P1.03 (J1.10/J1.11) sont en mode antenne NFC par defaut au
	 * reset (datasheet §8.8.1) — pas de Kconfig/DT pour ca sur nRF54L
	 * dans cette version de NCS, donc appel HAL direct. Note : ce
	 * registre PADCONFIG n'est PAS un registre UICR (contrairement au
	 * nRF52) — le changement n'est donc pas persistant en Flash, un
	 * simple appel au boot suffit, pas d'operation "definitive". */
	nrf_nfct_pad_config_enable_set(NRF_NFCT, false);

	uint32_t bits_pu, bits_pd;

	LOG_INF("Passe A (pull-up interne)...");
	passive_pass(true, &bits_pu);

	LOG_INF("Passe B (pull-down interne)...");
	passive_pass(false, &bits_pd);

	int n_pending = 0;

	for (int i = 0; i < SELFTEST_PIN_COUNT; i++) {
		bool a = bits_pu & BIT(i);
		bool b = bits_pd & BIT(i);

		shorted_to[i] = -1;
		if (!a && !b) {
			status[i] = PIN_STATUS_PENDING; /* sain, ou court-GND -> tranché en passe C */
			n_pending++;
		} else if (a && !b) {
			status[i] = PIN_STATUS_OPEN;
		} else if (a && b) {
			status[i] = PIN_STATUS_VDD_SHORT;
		} else {
			status[i] = PIN_STATUS_ANOMALY;
		}
	}

	LOG_INF("Passe C (walking-high durci, %d/%d pins concernes)...",
		n_pending, SELFTEST_PIN_COUNT);
	active_pass();

	int n_fail = 0;

	printk("\n%-14s %-8s %-4s %-11s %s\n", "Net", "Header", "Pad", "Statut", "Detail");
	printk("--------------------------------------------------------------\n");
	for (int i = 0; i < SELFTEST_PIN_COUNT; i++) {
		char detail[24] = "";

		if (status[i] == PIN_STATUS_INTER_SHORT && shorted_to[i] >= 0) {
			snprintk(detail, sizeof(detail), "-> %s",
				 selftest_pins[shorted_to[i]].header);
		}
		if (status[i] != PIN_STATUS_OK) {
			n_fail++;
		}
		printk("%-14s %-8s %-4u %-11s %s\n",
		       selftest_pins[i].net, selftest_pins[i].header, selftest_pins[i].pad,
		       status_str(status[i]), detail);
	}
	printk("--------------------------------------------------------------\n");
	printk("%d/%d OK\n\n", SELFTEST_PIN_COUNT - n_fail, SELFTEST_PIN_COUNT);

	if (n_fail == 0) {
		LOG_INF("Tous les pins testes sont OK.");
	} else {
		LOG_WRN("%d pin(s) en defaut — voir tableau ci-dessus et TEST-FLOW.md.", n_fail);
	}

	/* Remet tout en entree pull-down au repos (etat sur securise). */
	for (int i = 0; i < SELFTEST_PIN_COUNT; i++) {
		gpio_pin_configure(dev_for(selftest_pins[i].port), selftest_pins[i].pin,
				    GPIO_INPUT | GPIO_PULL_DOWN);
	}

	return n_fail;
}

static int cmd_selftest(const struct shell *sh, size_t argc, char **argv)
{
	ARG_UNUSED(argc);
	ARG_UNUSED(argv);

	int n_fail = selftest_run();

	if (n_fail < 0) {
		shell_error(sh, "Echec init GPIO — voir logs.");
		return -1;
	}
	shell_print(sh, "%d pin(s) en defaut sur %d.", n_fail, SELFTEST_PIN_COUNT);
	return 0;
}

SHELL_CMD_REGISTER(selftest, NULL,
		    "Balaie les 29 GPIO du fixture pull-down (voir test-fixture/TEST-FLOW.md)",
		    cmd_selftest);
```

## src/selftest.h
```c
/*
 * Auto-test des 29 GPIO exposés du breakout AN54LQ-15, sur le fixture
 * pull-down 1kΩ. Voir NRF54L_breakout/test-fixture/TEST-FLOW.md pour le
 * protocole (3 passes : pull-up, pull-down, walking-high durci) et le
 * raisonnement de sécurité derrière.
 */

#ifndef MYCO_SELFTEST_H
#define MYCO_SELFTEST_H

#include <stdint.h>

#define SELFTEST_PIN_COUNT 29

enum pin_status {
	PIN_STATUS_PENDING = 0,  /* pas encore classé (interne) */
	PIN_STATUS_OK,
	PIN_STATUS_OPEN,         /* joint module/header ouvert */
	PIN_STATUS_VDD_SHORT,    /* court vers VDD_NRF (détecté en passif) */
	PIN_STATUS_GND_SHORT,    /* court vers GND (détecté en actif) */
	PIN_STATUS_INTER_SHORT,  /* pont vers un autre GPIO (détecté en actif) */
	PIN_STATUS_ANOMALY,      /* combinaison pull-up/pull-down inattendue */
};

struct test_pin {
	uint8_t port;        /* 0/1/2 -> gpio0/gpio1/gpio2 */
	uint8_t pin;          /* numéro de pin dans le port */
	const char *net;      /* nom du net, ex "P1.09" */
	const char *header;   /* pin breakout, ex "J1.2" */
	uint8_t pad;           /* numéro de pad module U1 (PIN_MAPPING.md) */
};

/* Table des 29 pins testés — ordre : réseau A (J1, 13 pins) puis
 * réseau B+C (J4, 16 pins), cf. la table de câblage du fixture. */
extern const struct test_pin selftest_pins[SELFTEST_PIN_COUNT];

/* Lance les 3 passes et affiche le tableau de résultats sur le shell/log
 * courant. Retourne le nombre de pins qui ne sont pas PIN_STATUS_OK. */
int selftest_run(void);

#endif /* MYCO_SELFTEST_H */
```

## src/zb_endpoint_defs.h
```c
/*
 * Déclaration bas niveau de l'endpoint Myco (clusters custom au-delà de
 * ce que fournissent les macros ZB_HA_DECLARE_*_DEVICE — celles-ci ne
 * couvrent qu'un seul "device type" HA à la fois, alors qu'on combine
 * Temperature + Humidity + Illuminance + Power Config + Soil Moisture
 * (custom) sur un seul endpoint). Pattern repris du projet b-parasite
 * (github.com/rbaron/b-parasite), qui fait exactement ça pour un capteur
 * de plante Zigbee.
 */

#ifndef ZB_ENDPOINT_DEFS_H
#define ZB_ENDPOINT_DEFS_H

#include "zb_myco_config_defs.h"
#include "zb_soil_moisture_defs.h"

#define MYCO_ZIGBEE_ENDPOINT 10
#define MYCO_BASIC_MANUF_NAME "Myco"

#define MYCO_ZB_DEVICE_ID 0x0008
#define MYCO_ZB_DEVICE_VERSION 0
#define MYCO_ZB_IN_CLUSTER_NUM 8
#define MYCO_ZB_OUT_CLUSTER_NUM 0
#define MYCO_ZB_CLUSTER_NUM (MYCO_ZB_IN_CLUSTER_NUM + MYCO_ZB_OUT_CLUSTER_NUM)
#define MYCO_ZB_ATTR_REPORTING_COUNT 5

#define MYCO_ZB_DECLARE_CLUSTER_LIST(                                       \
	cluster_list_name,                                                   \
	basic_attr_list,                                                     \
	identify_attr_list,                                                  \
	temp_measurement_attr_list,                                          \
	rel_humidity_attr_list,                                              \
	batt_attr_list,                                                      \
	soil_moisture_attr_list,                                             \
	illuminance_attr_list,                                               \
	config_attr_list)                                                    \
	zb_zcl_cluster_desc_t cluster_list_name[] =                          \
	{                                                                     \
		ZB_ZCL_CLUSTER_DESC(                                         \
			ZB_ZCL_CLUSTER_ID_IDENTIFY,                          \
			ZB_ZCL_ARRAY_SIZE(identify_attr_list, zb_zcl_attr_t), \
			(identify_attr_list),                                \
			ZB_ZCL_CLUSTER_SERVER_ROLE,                          \
			ZB_ZCL_MANUF_CODE_INVALID),                          \
		ZB_ZCL_CLUSTER_DESC(                                         \
			ZB_ZCL_CLUSTER_ID_BASIC,                             \
			ZB_ZCL_ARRAY_SIZE(basic_attr_list, zb_zcl_attr_t),    \
			(basic_attr_list),                                   \
			ZB_ZCL_CLUSTER_SERVER_ROLE,                          \
			ZB_ZCL_MANUF_CODE_INVALID),                          \
		ZB_ZCL_CLUSTER_DESC(                                         \
			ZB_ZCL_CLUSTER_ID_TEMP_MEASUREMENT,                  \
			ZB_ZCL_ARRAY_SIZE(temp_measurement_attr_list, zb_zcl_attr_t), \
			(temp_measurement_attr_list),                        \
			ZB_ZCL_CLUSTER_SERVER_ROLE,                          \
			ZB_ZCL_MANUF_CODE_INVALID),                          \
		ZB_ZCL_CLUSTER_DESC(                                         \
			ZB_ZCL_CLUSTER_ID_REL_HUMIDITY_MEASUREMENT,          \
			ZB_ZCL_ARRAY_SIZE(rel_humidity_attr_list, zb_zcl_attr_t), \
			(rel_humidity_attr_list),                            \
			ZB_ZCL_CLUSTER_SERVER_ROLE,                          \
			ZB_ZCL_MANUF_CODE_INVALID),                          \
		ZB_ZCL_CLUSTER_DESC(                                         \
			MYCO_ZB_ZCL_SOIL_MOISTURE_CLUSTER_ID,                \
			ZB_ZCL_ARRAY_SIZE(soil_moisture_attr_list, zb_zcl_attr_t), \
			(soil_moisture_attr_list),                           \
			ZB_ZCL_CLUSTER_SERVER_ROLE,                          \
			ZB_ZCL_MANUF_CODE_INVALID),                          \
		ZB_ZCL_CLUSTER_DESC(                                         \
			ZB_ZCL_CLUSTER_ID_ILLUMINANCE_MEASUREMENT,           \
			ZB_ZCL_ARRAY_SIZE(illuminance_attr_list, zb_zcl_attr_t), \
			(illuminance_attr_list),                             \
			ZB_ZCL_CLUSTER_SERVER_ROLE,                          \
			ZB_ZCL_MANUF_CODE_INVALID),                          \
		ZB_ZCL_CLUSTER_DESC(                                         \
			ZB_ZCL_CLUSTER_ID_POWER_CONFIG,                      \
			ZB_ZCL_ARRAY_SIZE(batt_attr_list, zb_zcl_attr_t),    \
			(batt_attr_list),                                    \
			ZB_ZCL_CLUSTER_SERVER_ROLE,                          \
			ZB_ZCL_MANUF_CODE_INVALID),                          \
		ZB_ZCL_CLUSTER_DESC(                                         \
			MYCO_ZB_ZCL_CONFIG_CLUSTER_ID,                       \
			ZB_ZCL_ARRAY_SIZE(config_attr_list, zb_zcl_attr_t),  \
			(config_attr_list),                                  \
			ZB_ZCL_CLUSTER_SERVER_ROLE,                          \
			ZB_ZCL_MANUF_CODE_INVALID)                           \
	}

#define MYCO_ZB_DECLARE_SIMPLE_DESC(ep_name, ep_id, in_clust_num, out_clust_num) \
	ZB_DECLARE_SIMPLE_DESC(in_clust_num, out_clust_num);                 \
	ZB_AF_SIMPLE_DESC_TYPE(in_clust_num, out_clust_num)                  \
	simple_desc_##ep_name =                                              \
	{                                                                     \
		ep_id,                                                       \
		ZB_AF_HA_PROFILE_ID,                                         \
		MYCO_ZB_DEVICE_ID,                                           \
		MYCO_ZB_DEVICE_VERSION,                                      \
		0,                                                            \
		in_clust_num,                                                \
		out_clust_num,                                               \
		{                                                             \
			ZB_ZCL_CLUSTER_ID_BASIC,                             \
			ZB_ZCL_CLUSTER_ID_IDENTIFY,                          \
			ZB_ZCL_CLUSTER_ID_TEMP_MEASUREMENT,                  \
			ZB_ZCL_CLUSTER_ID_REL_HUMIDITY_MEASUREMENT,          \
			MYCO_ZB_ZCL_SOIL_MOISTURE_CLUSTER_ID,                \
			ZB_ZCL_CLUSTER_ID_ILLUMINANCE_MEASUREMENT,           \
			ZB_ZCL_CLUSTER_ID_POWER_CONFIG,                      \
			MYCO_ZB_ZCL_CONFIG_CLUSTER_ID,                       \
		}                                                             \
	}

#define MYCO_ZB_DECLARE_ENDPOINT(ep_name, ep_id, cluster_list)                                      \
	ZBOSS_DEVICE_DECLARE_REPORTING_CTX(reporting_ctx_##ep_name, MYCO_ZB_ATTR_REPORTING_COUNT);  \
	MYCO_ZB_DECLARE_SIMPLE_DESC(ep_name, ep_id,                                                  \
				    MYCO_ZB_IN_CLUSTER_NUM, MYCO_ZB_OUT_CLUSTER_NUM);               \
	ZB_AF_DECLARE_ENDPOINT_DESC(ep_name, ep_id, ZB_AF_HA_PROFILE_ID,                             \
				    /*reserved_length=*/0, /*reserved_ptr=*/NULL,                   \
				    ZB_ZCL_ARRAY_SIZE(cluster_list, zb_zcl_cluster_desc_t), cluster_list, \
				    (zb_af_simple_desc_1_1_t *)&simple_desc_##ep_name,              \
				    MYCO_ZB_ATTR_REPORTING_COUNT, reporting_ctx_##ep_name,          \
				    /*lev_ctrl_count=*/0, /*lev_ctrl_ctx=*/NULL)

#endif /* ZB_ENDPOINT_DEFS_H */
```

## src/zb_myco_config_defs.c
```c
#include "zb_myco_config_defs.h"

#include <zboss_api.h>

void myco_zcl_config_init_server(void)
{
	zb_zcl_add_cluster_handlers(MYCO_ZB_ZCL_CONFIG_CLUSTER_ID,
				     ZB_ZCL_CLUSTER_SERVER_ROLE,
				     /*cluster_check_value=*/NULL,
				     /*cluster_write_attr_hook=*/NULL,
				     /*cluster_handler=*/NULL);
}

void myco_zcl_config_init_client(void)
{
	/* Rien : pas de role client sur ce cluster. */
}
```
